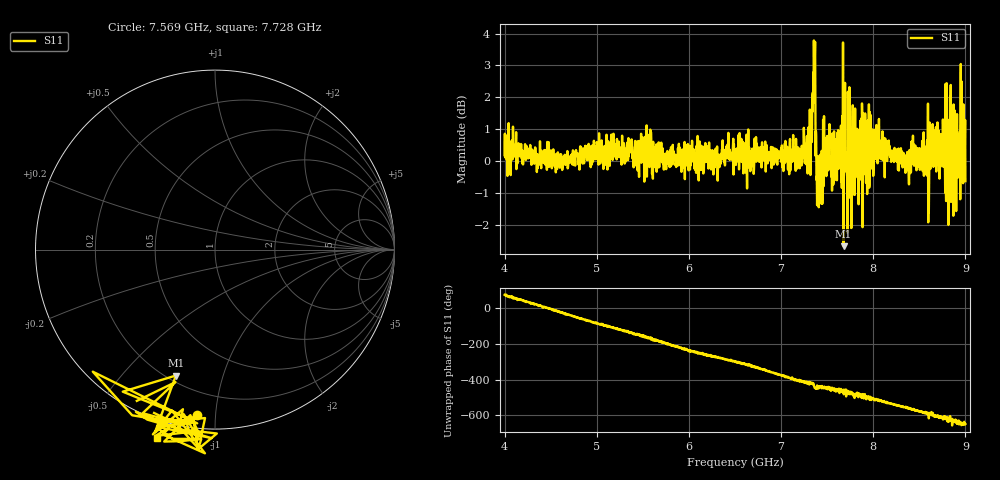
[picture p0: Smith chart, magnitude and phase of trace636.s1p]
! Created with skrf 1.8.0 (http://scikit-rf.org).
# Hz S RI R 50.0
!freq ReS11 ImS11
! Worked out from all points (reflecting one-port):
!   1601 points, 4 GHz to 9 GHz, reference 50 ohm
!   lowest |S11| = -2.7 dB at 7.678 GHz (marker M1), VSWR 6.53, Z = 11.7 - j35.5 ohm
!   phase of S11 starts at 77 deg and turns -727 deg over the sweep
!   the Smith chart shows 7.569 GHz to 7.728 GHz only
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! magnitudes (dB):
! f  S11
! 4 GHz  0.2
! 4.625 GHz  -0.3
! 5.25 GHz  0.1
! 5.875 GHz  0.2
! 6.5 GHz  0.4
! 7.125 GHz  0.0
! 7.294 GHz  0.0
! 7.325 GHz  1.4
! 7.347 GHz  1.8
! 7.362 GHz  3.2
! 7.4 GHz  0.2
! 7.412 GHz  -0.7
! 7.481 GHz  -0.4
! 7.559 GHz  0.8
! 7.678 GHz  -2.7
! 7.75 GHz  -0.3
! 7.891 GHz  0.0
! 7.981 GHz  -0.2
! 8.038 GHz  0.8
! 8.375 GHz  -0.1
! 8.438 GHz  0.5
! 8.594 GHz  1.8
! 8.656 GHz  0.9
! 8.794 GHz  1.6
! 8.816 GHz  -2.0
! 8.919 GHz  -0.4
! 8.972 GHz  -0.1
! 9 GHz  -0.6
